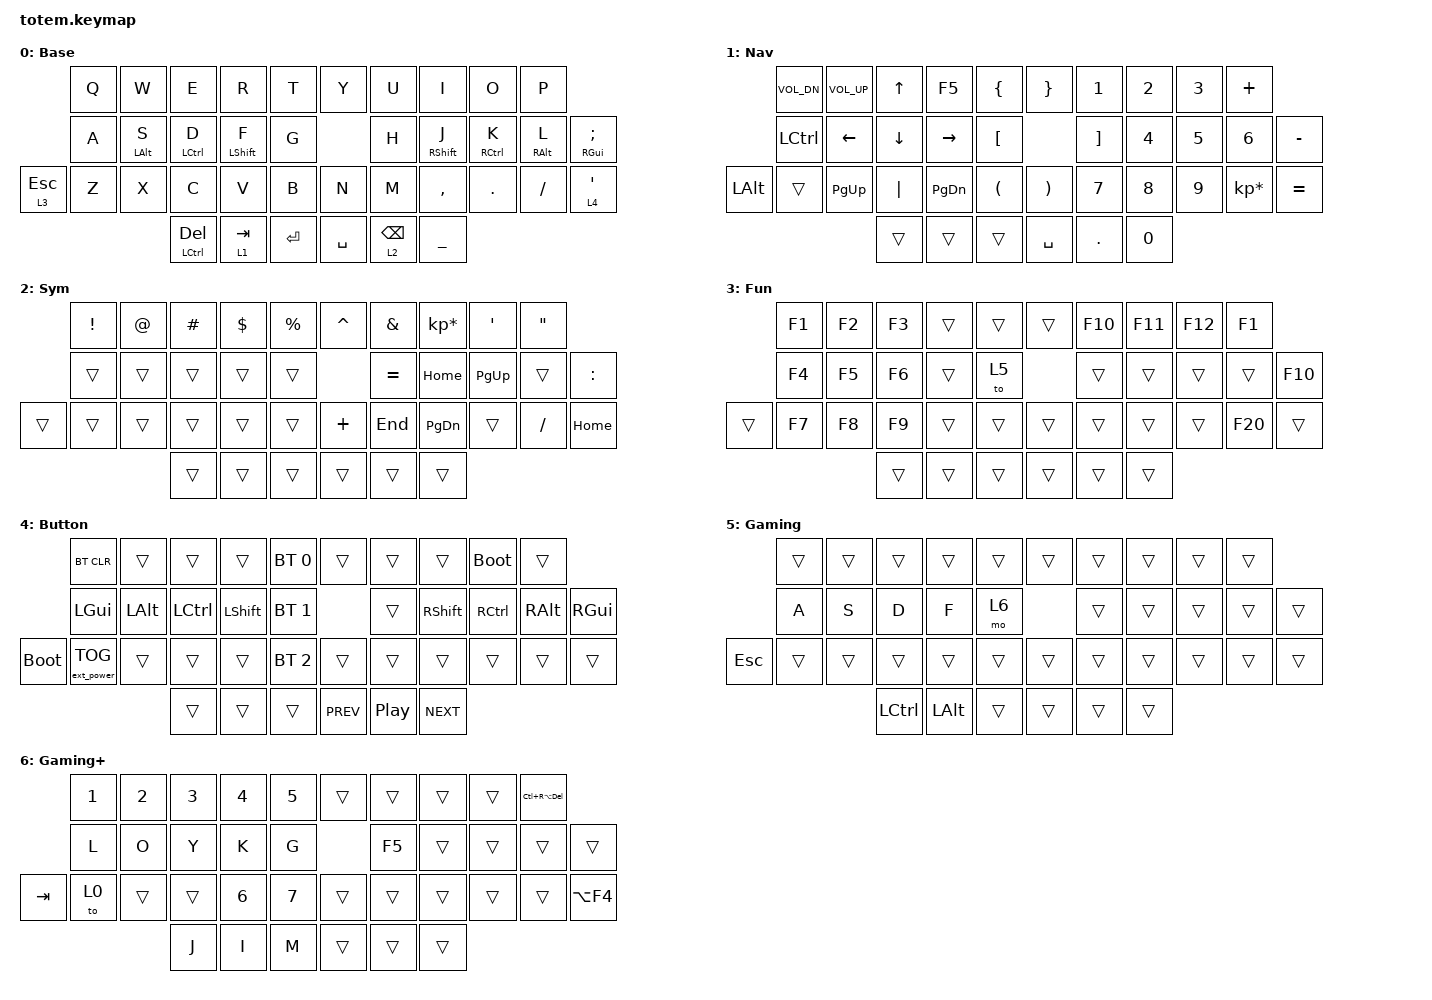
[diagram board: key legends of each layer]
//
//                                                        ▀▀▀▀▀     ▀▀▀▀▀          ▀▀█▀▀
//                                                        ▄▀▀▀▄  ▄  ▄▀▀▀▄  ▄  ▄▀▀▀▄  █  ▄▀▀▀▄
//                                                        █   █  █  █   █  █  █   █  █  █   █
//                                                         ▀▀▀   █   ▀▀▀   █   ▀▀▀   ▀   ▀▀▀
//                                                               █      ▄▄▄█▄▄▄    █   █  
//                                                               ▀      █  █  █     █▄█
//                                                             ▀▀▀▀▀    █  █  █      ▀
//                                                                      ▀  ▀  ▀
//
// ▄▄▄▄▄▄▄▄▄▄▄▄▄▄▄▄▄▄▄▄▄▄▄▄▄▄▄▄▄▄▄▄▄▄▄▄▄▄▄▄▄▄▄▄▄▄▄▄▄▄▄▄▄▄▄▄▄▄▄▄▄▄▄▄▄▄▄▄▄▄▄▄▄▄▄▄▄▄▄▄▄▄▄▄▄▄▄▄▄▄▄▄▄▄▄▄▄▄▄▄▄▄▄▄▄▄▄▄▄▄▄▄▄▄▄▄▄▄▄▄▄▄▄▄▄▄▄▄▄▄▄▄▄▄▄▄▄▄▄▄▄▄▄▄▄▄▄▄▄

//Notes
//Delete on home layer could be changed.


#include <behaviors.dtsi>
#include <dt-bindings/zmk/bt.h>
#include <dt-bindings/zmk/ext_power.h>
#include <dt-bindings/zmk/keys.h>

#define Base        0
#define Media       1
#define Nav         2
#define Mouse       3
#define Sym         4
#define Num         5
#define Fun         6
#define Button      7
#define Game        8
#define Gameplus    9

&mt {
    quick-tap-ms = <100>;
    global-quick-tap;
    flavor = "tap-preferred";
    tapping-term-ms = <170>;
};

&lt {
    tapping-term-ms = <240>;
    flavor = "balanced";
    quick-tap-ms = <150>;
};

/ {
    behaviors {
        hm: homerow_mods {
            compatible = "zmk,behavior-hold-tap";
            label = "HOMEROW_MODS";
            #binding-cells = <2>;
            flavor = "tap-preferred";
            tapping-term-ms = <200>;
            quick-tap-ms = <125>;
            global-quick-tap;
            bindings =
                <&kp>,
                <&kp>;
        };
    };

    combos {
        compatible = "zmk,combos";
    };

    keymap {
        compatible = "zmk,keymap";

        Base {
            label = "Base";
            bindings = <
                   &kp Q       &kp W          &kp E         &kp R      &kp T    &kp Y        &kp U        &kp I       &kp O               &kp P
              &kp A  &hm LALT S    &hm LCTRL D  &hm LSHIFT F      &kp G    &kp H  &hm RSHFT J  &hm RCTRL K  &hm RALT L  &hm RGUI SEMICOLON
&lt 3 ESCAPE       &kp Z       &kp X          &kp C         &kp V      &kp B    &kp N        &kp M    &kp COMMA     &kp DOT           &kp SLASH  &lt 4 APOSTROPHE
                                      &mt LCTRL DEL     &lt 1 TAB  &kp RET  &kp SPACE   &lt 2 BSPC    &kp UNDER
            >;
        };

        Nav {
            label = "Nav";
            bindings = <
            &kp C_VOL_DN  &kp C_VOL_UP  &kp UP     &kp F5  &kp LBRC  &kp RBRC  &kp NUMBER_1  &kp NUMBER_2  &kp NUMBER_3         &kp PLUS
              &kp LCTRL     &kp LEFT      &kp DOWN  &kp RIGHT  &kp LBKT  &kp RBKT  &kp NUMBER_4  &kp NUMBER_5  &kp NUMBER_6        &kp MINUS
&kp LEFT_ALT          &trans  &kp PAGE_UP        &kp PIPE  &kp PG_DN  &kp LPAR  &kp RPAR  &kp NUMBER_7  &kp NUMBER_8  &kp NUMBER_9  &kp KP_MULTIPLY  &kp EQUAL
                                                 &trans     &trans    &trans    &kp SPACE        &kp DOT  &kp NUMBER_0
            >;
        };

        Sym {
            label = "Sym";
            bindings = <
        &kp EXCL  &kp AT  &kp HASH  &kp DOLLAR  &kp PERCENT  &kp CARET  &kp AMPERSAND  &kp KP_ASTERISK  &kp APOS    &kp DQT
          &trans  &trans    &trans      &trans       &trans     &kp EQUAL        &kp HOME           &kp PG_UP   &trans     &kp COLON
&trans    &trans  &trans    &trans      &trans       &trans     &kp PLUS      &kp END           &kp PG_DN   &trans  &kp SLASH  &kp HOME
                            &trans      &trans       &trans     &trans         &trans           &trans
            >;
        };

        Fun {
            label = "Fun";
            bindings = <
        &kp F1  &kp F2  &kp F3  &trans  &trans  &trans  &kp F10  &kp F11  &kp F12   &kp F1
        &kp F4  &kp F5  &kp F6  &trans   &to 5  &trans  &trans  &trans  &trans  &kp F10
&trans  &kp F7  &kp F8  &kp F9  &trans  &trans  &trans  &trans  &trans  &trans  &kp F20  &trans
                        &trans  &trans  &trans  &trans  &trans  &trans
            >;
        };

        Button {
            label = "Button";
            bindings = <
                    &bt BT_CLR    &trans     &trans      &trans  &bt BT_SEL 0      &trans            &trans      &trans  &bootloader    &trans
                      &kp LGUI  &kp LALT  &kp LCTRL  &kp LSHIFT  &bt BT_SEL 1      &trans        &kp RSHIFT   &kp RCTRL     &kp RALT  &kp RGUI
&bootloader  &ext_power EP_TOG    &trans     &trans      &trans  &bt BT_SEL 2      &trans            &trans      &trans       &trans    &trans  &trans
                                             &trans      &trans        &trans  &kp C_PREV  &kp C_PLAY_PAUSE  &kp C_NEXT
            >;
        };

        Gaming {
            bindings = <
            &trans  &trans     &trans        &trans  &trans  &trans  &trans  &trans  &trans  &trans
             &kp A   &kp S      &kp D         &kp F   &mo 6  &trans  &trans  &trans  &trans  &trans
&kp ESCAPE  &trans  &trans     &trans        &trans  &trans  &trans  &trans  &trans  &trans  &trans  &trans
                            &kp LCTRL  &kp LEFT_ALT  &trans  &trans  &trans  &trans
            >;

            label = "Gaming";
        };

        Gaming+ {
            bindings = <
         &kp NUMBER_1  &kp NUMBER_2  &kp NUMBER_3  &kp NUMBER_4  &kp NUMBER_5  &trans  &trans  &trans  &trans  &kp LC(RA(DEL))
                &kp L         &kp O         &kp Y         &kp K         &kp G  &kp F5  &trans  &trans  &trans           &trans
&kp TAB         &to 0        &trans        &trans  &kp NUMBER_6  &kp NUMBER_7  &trans  &trans  &trans  &trans           &trans  &kp LA(F4)
                                            &kp J         &kp I         &kp M  &trans  &trans  &trans
            >;

            label = "Gaming+";
        };
    };
};
